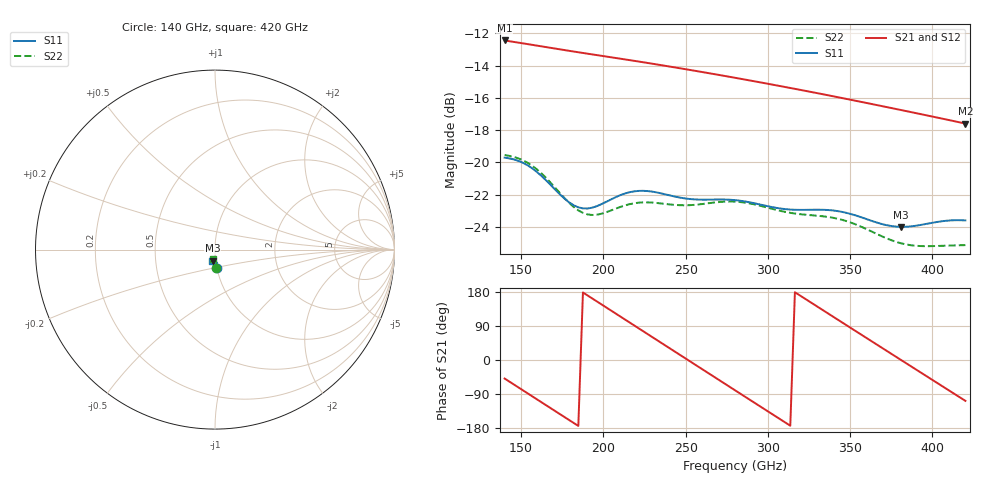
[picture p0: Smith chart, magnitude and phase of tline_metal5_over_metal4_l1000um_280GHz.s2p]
#  GHZ S DB R 50
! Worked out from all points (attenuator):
!   101 points, 140 GHz to 420 GHz, reference 50 ohm
!   highest |S21| = -12.45 dB at 140 GHz (marker M1); lowest = -17.6 dB at 420 GHz (marker M2)
!   lowest |S11| = -24.0 dB at 380.8 GHz (marker M3), VSWR 1.13, Z = 48.3 - j5.99 ohm
!   |S11| at or under -10 dB: start of sweep to end of sweep
!   |S22| runs from -25.2 to -19.6 dB; largest |S21 - S12| = 1.8e-13
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140  -19.71 -84.0  -12.45 -48.9  -12.45 -48.9  -19.55 -85.9
151.2  -20.04 -87.6  -12.63 -80.2  -12.63 -80.2  -19.88 -89.8
162.4  -20.85 -91.3  -12.81 -111.5  -12.81 -111.5  -20.69 -94.2
176.4  -22.25 -90.9  -13.04 -150.6  -13.04 -150.6  -22.22 -95.3
187.6  -22.86 -85.6  -13.22 178.2  -13.22 178.2  -23.14 -90.7
198.8  -22.60 -81.2  -13.40 146.9  -13.40 146.9  -23.19 -85.3
212.8  -21.95 -81.8  -13.61 107.8  -13.61 107.8  -22.69 -83.9
224  -21.77 -85.1  -13.79 76.5  -13.79 76.5  -22.49 -85.8
235.2  -21.93 -88.2  -13.98 45.2  -13.98 45.2  -22.55 -87.8
254.8  -22.30 -90.3  -14.31 -9.5  -14.31 -9.5  -22.65 -89.2
268.8  -22.31 -91.7  -14.56 -48.6  -14.56 -48.6  -22.48 -91.2
280  -22.35 -93.8  -14.76 -79.8  -14.76 -79.8  -22.44 -94.2
291.2  -22.53 -95.9  -14.97 -111.1  -14.97 -111.1  -22.60 -97.3
305.2  -22.83 -97.3  -15.23 -150.0  -15.23 -150.0  -22.96 -99.9
316.4  -22.95 -97.7  -15.45 178.8  -15.45 178.8  -23.18 -101.0
327.6  -22.94 -98.6  -15.67 147.7  -15.67 147.7  -23.29 -102.3
338.8  -22.98 -100.6  -15.89 116.6  -15.89 116.6  -23.43 -104.4
350  -23.20 -102.7  -16.12 85.5  -16.12 85.5  -23.73 -106.8
375.2  -23.96 -102.8  -16.64 15.8  -16.64 15.8  -24.84 -107.7
380.8  -24.00 -102.0  -16.76 0.3  -16.76 0.3  -25.02 -106.8
403.2  -23.70 -101.2  -17.23 -61.5  -17.23 -61.5  -25.19 -103.1
420  -23.61 -103.5  -17.60 -107.8  -17.60 -107.8  -25.14 -101.5
